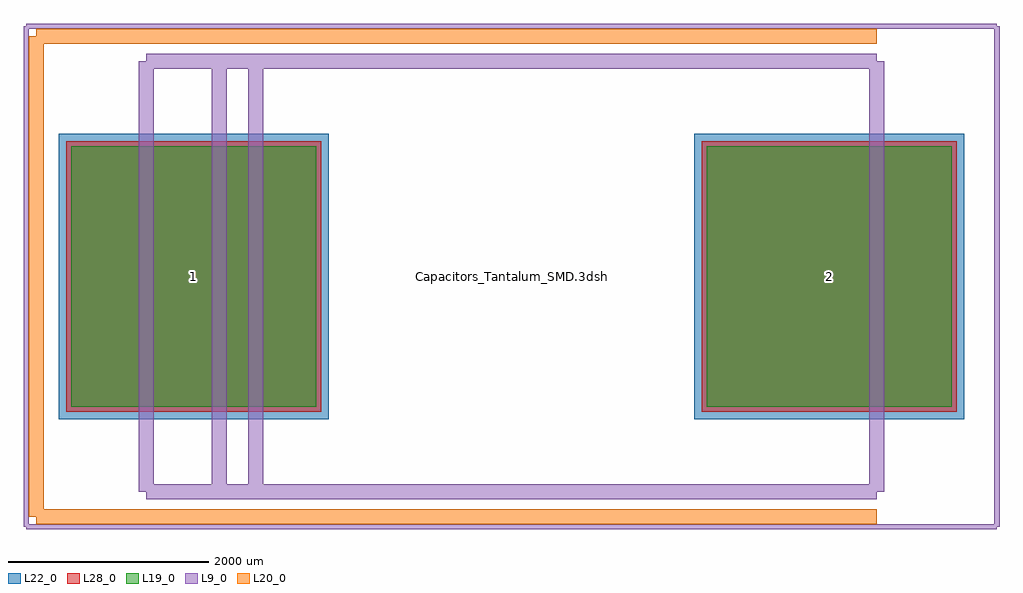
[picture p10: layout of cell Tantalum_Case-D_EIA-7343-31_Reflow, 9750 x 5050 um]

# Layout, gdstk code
import gdstk
lib = gdstk.Library(unit=1e-6, precision=1e-09)
def R(c, l, rs):  # rectangles x0, y0, x1, y1
    for r in rs: c.add(gdstk.rectangle(r[:2], r[2:], *l))
L9_0 = (9, 0)
L19_0 = (19, 0)
L20_0 = (20, 0)
L22_0 = (22, 0)
L28_0 = (28, 0)

tantalum_case_d_eia_7343 = lib.new_cell('Tantalum_Case-D_EIA-7343-31_Reflow')
R(tantalum_case_d_eia_7343, L19_0, [(-4400,-1300,-1950,1300), (1950,-1300,4400,1300)])
R(tantalum_case_d_eia_7343, L22_0, [(-4525,-1425,-1825,1425), (1825,-1425,4525,1425)])
R(tantalum_case_d_eia_7343, L28_0, [(-4450,-1350,-1900,1350), (1900,-1350,4450,1350)])
tantalum_case_d_eia_7343.add(gdstk.FlexPath([(-4750,2400),(-4750,-2400)], 149.998, ends="flush", simple_path=True, layer=20, datatype=0))  # L20_0
tantalum_case_d_eia_7343.add(gdstk.FlexPath([(-4750,-2400),(3650,-2400)], 149.998, ends="flush", simple_path=True, layer=20, datatype=0))  # L20_0
tantalum_case_d_eia_7343.add(gdstk.FlexPath([(-4750,2400),(3650,2400)], 149.998, ends="flush", simple_path=True, layer=20, datatype=0))  # L20_0
tantalum_case_d_eia_7343.add(gdstk.FlexPath([(-2555,2150),(-2555,-2150)], 149.998, ends="flush", simple_path=True, layer=9, datatype=0))  # L9_0
tantalum_case_d_eia_7343.add(gdstk.FlexPath([(-2920,2150),(-2920,-2150)], 149.998, ends="flush", simple_path=True, layer=9, datatype=0))  # L9_0
tantalum_case_d_eia_7343.add(gdstk.FlexPath([(3650,2150),(-3650,2150)], 149.998, ends="flush", simple_path=True, layer=9, datatype=0))  # L9_0
tantalum_case_d_eia_7343.add(gdstk.FlexPath([(3650,-2150),(3650,2150)], 149.998, ends="flush", simple_path=True, layer=9, datatype=0))  # L9_0
tantalum_case_d_eia_7343.add(gdstk.FlexPath([(-3650,-2150),(3650,-2150)], 149.998, ends="flush", simple_path=True, layer=9, datatype=0))  # L9_0
tantalum_case_d_eia_7343.add(gdstk.FlexPath([(-3650,2150),(-3650,-2150)], 149.998, ends="flush", simple_path=True, layer=9, datatype=0))  # L9_0
tantalum_case_d_eia_7343.add(gdstk.FlexPath([(4850,2500),(-4850,2500)], 50, ends="flush", simple_path=True, layer=9, datatype=0))  # L9_0
tantalum_case_d_eia_7343.add(gdstk.FlexPath([(4850,-2500),(4850,2500)], 50, ends="flush", simple_path=True, layer=9, datatype=0))  # L9_0
tantalum_case_d_eia_7343.add(gdstk.FlexPath([(-4850,-2500),(4850,-2500)], 50, ends="flush", simple_path=True, layer=9, datatype=0))  # L9_0
tantalum_case_d_eia_7343.add(gdstk.FlexPath([(-4850,2500),(-4850,-2500)], 50, ends="flush", simple_path=True, layer=9, datatype=0))  # L9_0
tantalum_case_d_eia_7343.add(gdstk.Label('Capacitors_Tantalum_SMD.3dshapes/Tantalum_Case-D_EIA-7343-31.wrl', (0,0), layer=12, texttype=0))
tantalum_case_d_eia_7343.add(gdstk.Label('2', (3175,0), layer=28, texttype=0))
tantalum_case_d_eia_7343.add(gdstk.Label('1', (-3175,0), layer=28, texttype=0))
tantalum_case_d_eia_7343.add(gdstk.Label('type', (0,-3900), layer=9, texttype=0))
tantalum_case_d_eia_7343.add(gdstk.Label('devicename', (0,3900), layer=9, texttype=0))

lib.write_gds('Tantalum_Case-D_EIA-7343-31_Reflow.gds')
